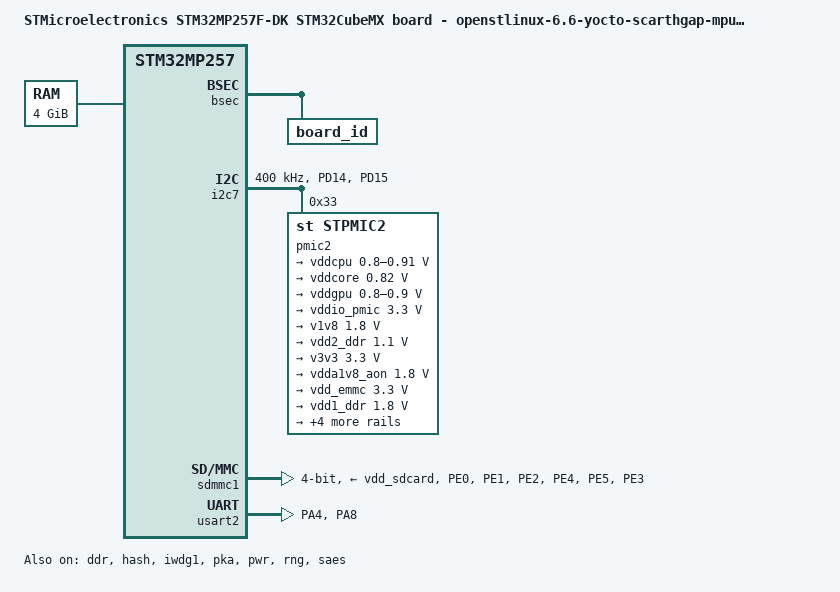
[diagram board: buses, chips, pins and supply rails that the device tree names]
// SPDX-License-Identifier: (GPL-2.0-only OR BSD-3-Clause)
/*
 * Copyright (C) 2025, STMicroelectronics - All Rights Reserved
 * Author: STM32CubeMX code generation for STMicroelectronics.
 */

/* For more information on Device Tree configuration, please refer to
 * https://wiki.st.com/stm32mpu/wiki/Category:Device_tree_configuration
 */

/dts-v1/;

#include <dt-bindings/pinctrl/stm32-pinfunc.h>
#include <dt-bindings/clock/stm32mp25-clksrc.h>
#include "stm32mp25-dk-mx.dtsi"

#include "stm32mp257.dtsi"
#include "stm32mp25xf.dtsi"
#include "stm32mp257f-dk-mx-rcc.dtsi"
#include "stm32mp25xxak-pinctrl.dtsi"
#include "stm32mp25-ddr.dtsi"

/* USER CODE BEGIN includes */
#include "stm32mp25-pinctrl.dtsi"
#include "stm32mp25xxal-pinctrl.dtsi"
/* USER CODE END includes */

/ {
	model = "STMicroelectronics STM32MP257F-DK STM32CubeMX board - openstlinux-6.6-yocto-scarthgap-mpu-v25.06.11";
	compatible = "st,stm32mp257f-dk-mx", "st,stm32mp257f-dk", "st,stm32mp257";

	memory@80000000 {
		device_type = "memory";
		reg = <0x0 0x80000000 0x00000001 0x00000000>;

		/* USER CODE BEGIN memory */
		/* USER CODE END memory */
	};

	/* USER CODE BEGIN root */

	aliases{
		serial0 = &usart2;
	};

	chosen{
		stdout-path = "serial0:115200n8";
	};

	shadow-prov{
		compatible = "st,provisioning";

		hconf1_prov{
			nvmem-cells = <&hconf1_otp>;
			st,shadow-value = <0x00018000>;
		};
	};
	/* USER CODE END root */

}; /*root*/

&pinctrl {
	i2c7_pins_mx: i2c7_mx-0 {
		pins {
			pinmux = <STM32_PINMUX('D', 14, AF10)>, /* I2C7_SDA */
					 <STM32_PINMUX('D', 15, AF10)>; /* I2C7_SCL */
			bias-disable;
			drive-open-drain;
			slew-rate = <0>;
		};
	};

	sdmmc1_pins_mx: sdmmc1_mx-0 {
		pins1 {
			pinmux = <STM32_PINMUX('E', 0, AF10)>, /* SDMMC1_D2 */
					 <STM32_PINMUX('E', 1, AF10)>, /* SDMMC1_D3 */
					 <STM32_PINMUX('E', 2, AF10)>, /* SDMMC1_CMD */
					 <STM32_PINMUX('E', 4, AF10)>, /* SDMMC1_D0 */
					 <STM32_PINMUX('E', 5, AF10)>; /* SDMMC1_D1 */
			bias-disable;
			drive-push-pull;
			slew-rate = <1>;
		};
		pins2 {
			pinmux = <STM32_PINMUX('E', 3, AF10)>; /* SDMMC1_CK */
			bias-disable;
			drive-push-pull;
			slew-rate = <2>;
		};
	};

	usart2_pins_mx: usart2_mx-0 {
		pins1 {
			pinmux = <STM32_PINMUX('A', 4, AF6)>; /* USART2_TX */
			bias-disable;
			drive-push-pull;
			slew-rate = <0>;
		};
		pins2 {
			pinmux = <STM32_PINMUX('A', 8, AF8)>; /* USART2_RX */
			bias-disable;
			drive-push-pull;
		};
	};

	/* USER CODE BEGIN pinctrl */
	/* USER CODE END pinctrl */
};

&pinctrl_z {
	/* USER CODE BEGIN pinctrl_z */
	/* USER CODE END pinctrl_z */
};

&bsec {
	status = "okay";

	/* USER CODE BEGIN bsec */

	board_id:board_id@3d8{
		reg = <0x3d8 0x4>;
	};
	/* USER CODE END bsec */
};

&ddr {
	status = "okay";

	/* USER CODE BEGIN ddr */
	vdd1-supply = <&vdd1_ddr>;
	vdd2-supply = <&vdd2_ddr>;
	vddq-supply = <&vdd2_ddr>;
	/* USER CODE END ddr */
};

&hash {
	status = "okay";

	/* USER CODE BEGIN hash */
	/* USER CODE END hash */
};

&i2c7 {
	pinctrl-names = "default";
	pinctrl-0 = <&i2c7_pins_mx>;
	status = "okay";

	/* USER CODE BEGIN i2c7 */
	i2c-scl-rising-time-ns = <185>;
	i2c-scl-falling-time-ns = <20>;
	clock-frequency = <400000>;
	#address-cells = <1>;
	#size-cells = <0>;

	pmic2:stpmic@33{
		compatible = "st,stpmic2";
		reg = <0x33>;
		status = "okay";

		regulators{
			compatible = "st,stpmic2-regulators";

			vddcpu:buck1{
				regulator-name = "vddcpu";
				regulator-min-microvolt = <800000>;
				regulator-max-microvolt = <910000>;
				regulator-always-on;
			};

			vddcore:buck2{
				regulator-name = "vddcore";
				regulator-min-microvolt = <820000>;
				regulator-max-microvolt = <820000>;
				regulator-always-on;
			};

			vddgpu:buck3{
				regulator-name = "vddgpu";
				regulator-min-microvolt = <800000>;
				regulator-max-microvolt = <900000>;
				regulator-always-on;
			};

			vddio_pmic:buck4{
				regulator-name = "vddio_pmic";
				regulator-min-microvolt = <3300000>;
				regulator-max-microvolt = <3300000>;
				regulator-always-on;
			};

			v1v8:buck5{
				regulator-name = "v1v8";
				regulator-min-microvolt = <1800000>;
				regulator-max-microvolt = <1800000>;
				regulator-always-on;
			};

			vdd2_ddr:buck6{
				regulator-name = "vdd2_ddr";
				regulator-min-microvolt = <1100000>;
				regulator-max-microvolt = <1100000>;
			};

			v3v3:buck7{
				regulator-name = "v3v3";
				regulator-min-microvolt = <3300000>;
				regulator-max-microvolt = <3300000>;
				regulator-always-on;
			};

			vdda1v8_aon:ldo1{
				regulator-name = "vdda1v8_aon";
				regulator-min-microvolt = <1800000>;
				regulator-max-microvolt = <1800000>;
				regulator-always-on;
			};

			vdd_emmc:ldo2{
				regulator-name = "vdd_emmc";
				regulator-min-microvolt = <3300000>;
				regulator-max-microvolt = <3300000>;
				regulator-always-on;
			};

			vdd1_ddr:ldo3{
				regulator-name = "vdd1_ddr";
				regulator-min-microvolt = <1800000>;
				regulator-max-microvolt = <1800000>;
			};

			vdd3v3_usb:ldo4{
				regulator-name = "vdd3v3_usb";
				regulator-min-microvolt = <3300000>;
				regulator-max-microvolt = <3300000>;
				regulator-always-on;
			};

			v5v_hdmi:ldo5{
				regulator-name = "v5v_hdmi";
				regulator-min-microvolt = <2000000>;
				regulator-max-microvolt = <2000000>;
			};

			vdd_sdcard:ldo7{
				regulator-name = "vdd_sdcard";
				regulator-min-microvolt = <3300000>;
				regulator-max-microvolt = <3300000>;
				regulator-always-on;
			};

			vddio_sdcard:ldo8{
				regulator-name = "vddio_sdcard";
				st,regulator-bypass-microvolt = <3300000>;
				regulator-min-microvolt = <1800000>;
				regulator-max-microvolt = <3300000>;
				regulator-always-on;
			};
		};
	};
	/* USER CODE END i2c7 */
};

&iwdg1 {
	status = "okay";

	/* USER CODE BEGIN iwdg1 */
	timeout-sec = <32>;
	/* USER CODE END iwdg1 */
};

&pka {
	status = "okay";

	/* USER CODE BEGIN pka */
	/* USER CODE END pka */
};

&pwr {
	status = "okay";

	/* USER CODE BEGIN pwr */

	vddio1:vddio1{
		vddio1-supply = <&vddio_sdcard>;
	};

	vddio2:vddio2{
		vddio2-supply = <&v1v8>;
	};

	vddio3:vddio3{
		vddio3-supply = <&vddio_pmic>;
	};

	vddio4:vddio4{
		vddio4-supply = <&vddio_pmic>;
	};

	vddio:vddio{
		vdd-supply = <&vddio_pmic>;
	};
	/* USER CODE END pwr */
};

&rcc {
	status = "okay";

	/* USER CODE BEGIN rcc */
	/* USER CODE END rcc */
};

&rng {
	status = "okay";

	/* USER CODE BEGIN rng */
	/* USER CODE END rng */
};

&saes {
	status = "okay";

	/* USER CODE BEGIN saes */
	/* USER CODE END saes */
};

&sdmmc1 {
	pinctrl-names = "default";
	pinctrl-0 = <&sdmmc1_pins_mx>;
	status = "okay";

	/* USER CODE BEGIN sdmmc1 */
	st,neg-edge;
	bus-width = <4>;
	vmmc-supply = <&vdd_sdcard>;
	vqmmc-supply = <&vddio1>;
	/* USER CODE END sdmmc1 */
};

&usart2 {
	pinctrl-names = "default";
	pinctrl-0 = <&usart2_pins_mx>;
	status = "okay";

	/* USER CODE BEGIN usart2 */
	/* USER CODE END usart2 */
};

/* USER CODE BEGIN addons */
/* USER CODE END addons */

